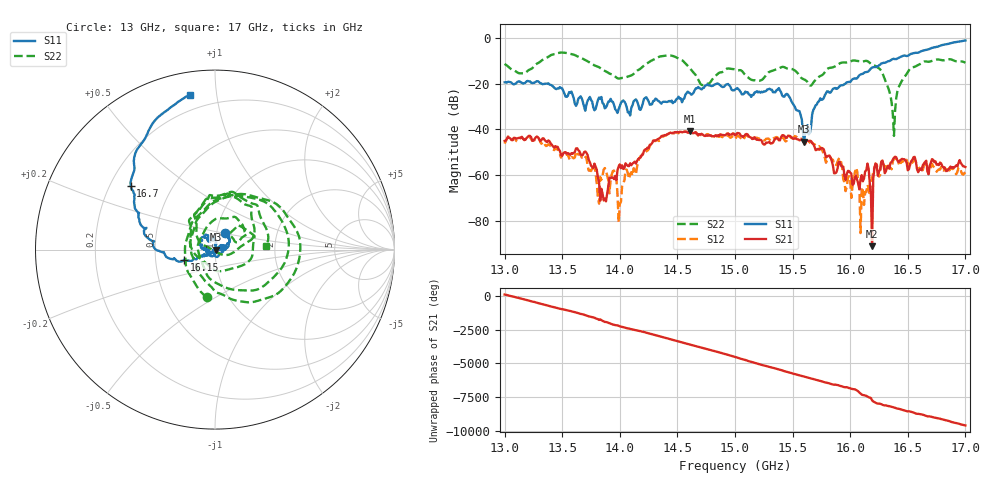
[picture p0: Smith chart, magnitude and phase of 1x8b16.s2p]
!Keysight Technologies,P9374A,MY57211807,A.19.30.04
!Date: Friday, May 08, 2026 14:25:20
!Correction: S11(C  2-Port  )
!S21(C  2-Port  )
!S12(C  2-Port  )
!S22(C  2-Port  )
!S2P File: Measurements: S11, S21, S12, S22:
# Hz S  dB  R 50
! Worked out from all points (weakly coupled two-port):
!   401 points, 13 GHz to 17 GHz, reference 50 ohm
!   highest |S21| = -40.87 dB at 14.61 GHz (marker M1); lowest = -90.9 dB at 16.19 GHz (marker M2)
!   lowest |S11| = -45.4 dB at 15.6 GHz (marker M3), VSWR 1.01, Z = 50.5 - j0.0936 ohm
!   |S11| at or under -10 dB: start of sweep to 16.34 GHz
!   |S22| runs from -42.8 to -6.4 dB; largest |S21 - S12| = 0.0017
!   S11 on the Smith chart (normalised r, x): 13 GHz: 1.10, +0.20; 16.15 GHz: 0.70, -0.08; 16.7 GHz: 0.29, +0.31; 17 GHz: 0.12, +0.84
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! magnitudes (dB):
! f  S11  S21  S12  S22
! 13 GHz  -19.4  -45.0  -46.2  -11.4
! 13.67 GHz  -26.4  -51.2  -52.3  -8.9
! 13.82 GHz  -26.1  -63.1  -72.4  -12.8
! 13.87 GHz  -30.8  -70.2  -56.8  -14.5
! 13.95 GHz  -29.3  -61.6  -57.9  -16.5
! 14 GHz  -29.8  -55.2  -72.6  -17.7
! 14.05 GHz  -28.8  -54.7  -57.6  -17.3
! 14.34 GHz  -27.7  -44.0  -45.0  -8.3
! 14.61 GHz  -24.2  -40.9  -40.7  -13.4
! 14.72 GHz  -22.0  -42.2  -42.1  -20.7
! 15 GHz  -22.6  -42.6  -44.2  -13.9
! 15.46 GHz  -24.8  -42.7  -44.0  -13.5
! 15.6 GHz  -45.4  -45.7  -46.0  -18.2
! 15.67 GHz  -33.3  -46.0  -45.7  -20.3
! 15.87 GHz  -21.9  -59.1  -54.9  -12.4
! 16.15 GHz  -14.9  -54.9  -64.1  -10.2
! 16.19 GHz  -13.0  -90.9  -61.3  -11.7
! 16.34 GHz  -10.1  -57.0  -57.1  -23.4
! 16.38 GHz  -9.2  -52.3  -52.7  -42.8
! 16.5 GHz  -7.9  -57.8  -54.9  -15.0
! 16.7 GHz  -4.6  -54.6  -56.5  -10.2
! 17 GHz  -1.2  -56.4  -58.7  -10.9
